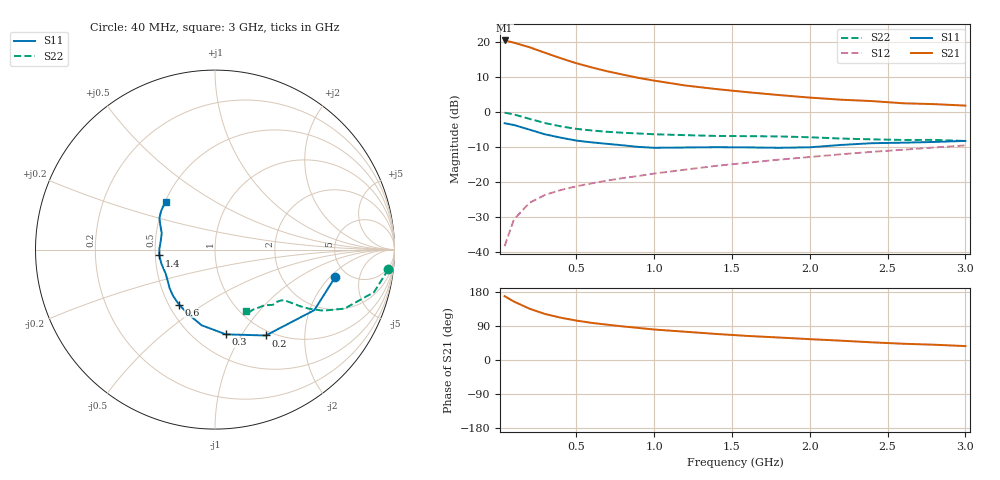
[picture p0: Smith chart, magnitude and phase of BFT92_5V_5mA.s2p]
! Filename:  BFT92B.S2P  Version:  2.0
! Philips part #: BFT92  Date: May 1990
! Bias condition: Vce=-5V, Ic=-5mA
#  MHz  S  MA  R  50
! Freq  S11  S21  S12  S22  !GUM [dB]
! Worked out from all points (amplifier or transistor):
!   21 points, 40 MHz to 3 GHz, reference 50 ohm
!   highest |S21| = 20.4 dB at 40 MHz (marker M1)
!   |S21| within 3 dB of that: start of sweep to 266.8 MHz
!   unconditionally stable (mu >= 1): 971 MHz to 2.674 GHz
!   at 300 MHz: K = 0.54, MSG = 20.3 dB, |S12| = -23.7 dB
!   at 1 GHz: K = 1.01, MAG = 12.7 dB, |S12| = -17.7 dB
!   at 3 GHz: K = 0.97, MSG = 5.7 dB, |S12| = -9.6 dB
!   S11 on the Smith chart (normalised r, x): 40 MHz: 3.98, -2.31; 200 MHz: 0.93, -1.29; 300 MHz: 0.70, -0.85; 600 MHz: 0.56, -0.40; 1.4 GHz: 0.53, -0.04; 3 GHz: 0.50, +0.32
40  0.687 -12.9  10.48 168.4  0.012 83.2  0.972 -6.5
100  0.648 -31.4  9.739 154.2  0.029 73.9  0.917 -15.0
200  0.556 -59.4  8.379 135.4  0.05 65.0  0.793 -24.5
300  0.476 -82.7  6.984 121.4  0.065 60.6  0.691 -29.5
400  0.428 -100.1  5.849 111.7  0.076 58.8  0.62 -32.1
500  0.388 -112.9  4.956 104.1  0.086 58.4  0.571 -33.6
600  0.366 -123.3  4.314 97.9  0.095 58.9  0.541 -34.3
700  0.348 -132.2  3.795 93.2  0.104 59.7  0.518 -34.9
800  0.332 -139.6  3.403 88.6  0.113 60.6  0.502 -35.4
900  0.315 -147.0  3.056 84.6  0.121 61.3  0.49 -35.7
1000  0.306 -153.6  2.795 80.5  0.131 62.0  0.478 -36.1
1200  0.309 -166.0  2.381 74.6  0.149 63.0  0.464 -37.7
1400  0.312 -174.0  2.115 68.7  0.169 63.7  0.452 -39.9
1600  0.31 179.1  1.909 63.5  0.187 64.1  0.449 -41.7
1800  0.306 171.5  1.738 59.4  0.207 64.6  0.445 -43.8
2000  0.311 162.7  1.598 55.0  0.226 64.6  0.433 -45.5
2200  0.336 155.3  1.491 51.0  0.247 64.6  0.415 -48.3
2400  0.356 150.4  1.424 46.6  0.268 63.8  0.404 -53.2
2600  0.362 147.6  1.325 42.9  0.287 63.4  0.396 -57.5
2800  0.371 143.5  1.288 40.3  0.309 63.2  0.397 -60.5
3000  0.384 135.8  1.227 36.7  0.331 62.5  0.383 -63.2
